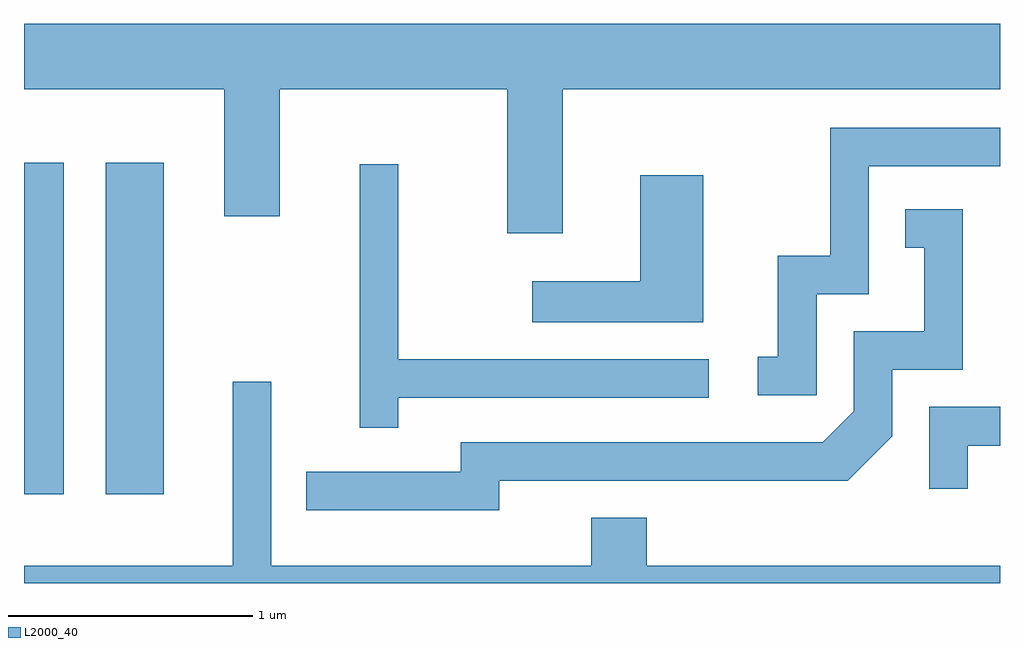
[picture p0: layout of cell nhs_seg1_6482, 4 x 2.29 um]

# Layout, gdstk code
import gdstk
lib = gdstk.Library(unit=1e-6, precision=1e-09)
def R(c, l, rs):  # rectangles x0, y0, x1, y1
    for r in rs: c.add(gdstk.rectangle(r[:2], r[2:], *l))
def P(c, l, *ps):  # polygons
    for p in ps: c.add(gdstk.Polygon(p, *l))
L2000_40 = (2000, 40)

nhs_seg1_6482 = lib.new_cell('nhs_seg1_6482')
R(nhs_seg1_6482, L2000_40, [(379.611,960.076,379.774,961.434), (379.946,960.076,380.184,961.434)])
P(nhs_seg1_6482, L2000_40, [(381.819,961.736),(383.611,961.736),(383.611,962.004),(379.611,962.004),(379.611,961.736),(380.431,961.736),(380.431,961.216),(380.659,961.216),(380.659,961.736),(381.591,961.736),(381.591,961.146),(381.819,961.146)],
  [(382.859,960.896),(383.074,960.896),(383.074,961.421),(383.611,961.421),(383.611,961.579),(382.916,961.579),(382.916,961.054),(382.701,961.054),(382.701,960.639),(382.618,960.639),(382.618,960.481),(382.859,960.481)],
  [(381.144,960.471),(382.418,960.471),(382.418,960.629),(381.144,960.629),(381.144,961.428),(380.986,961.428),(380.986,960.348),(381.144,960.348)],
  [(382.394,961.384),(382.136,961.384),(382.136,960.949),(381.693,960.949),(381.693,960.781),(382.394,960.781)],
  [(381.559,960.131),(382.987,960.131),(383.169,960.314),(383.169,960.586),(383.459,960.586),(383.459,961.244),(383.223,961.244),(383.223,961.086),(383.301,961.086),(383.301,960.744),(383.011,960.744),(383.011,960.417),(382.884,960.289),(381.401,960.289),(381.401,960.169),(380.768,960.169),(380.768,960.011),(381.559,960.011)],
  [(383.611,959.784),(382.164,959.784),(382.164,959.979),(381.936,959.979),(381.936,959.784),(380.624,959.784),(380.624,960.538),(380.466,960.538),(380.466,959.784),(379.611,959.784),(379.611,959.712),(383.611,959.712)],
  [(383.479,960.276),(383.611,960.276),(383.611,960.434),(383.321,960.434),(383.321,960.098),(383.479,960.098)])

lib.write_gds('nhs_seg1_6482.gds')
